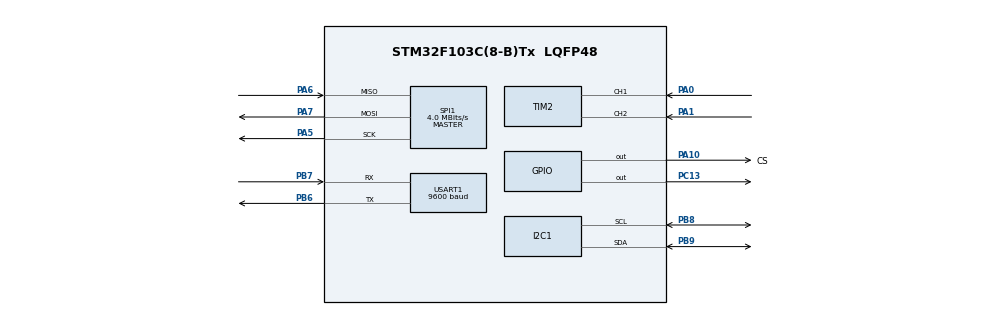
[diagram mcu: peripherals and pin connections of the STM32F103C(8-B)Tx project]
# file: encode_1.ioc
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IWDG.Prescaler=IWDG_PRESCALER_64
IWDG.Reload=4095
Mcu.Family=STM32F1
Mcu.Name=STM32F103C(8-B)Tx
Mcu.Package=LQFP48
NVIC.PriorityGroup=NVIC_PRIORITYGROUP_4
PA0-WKUP.Signal=S_TIM2_CH1_ETR
PA1.Signal=S_TIM2_CH2
PA10.GPIO_Label=CS
PA10.PinState=GPIO_PIN_SET
PA10.Signal=GPIO_Output
PA13.Mode=Serial_Wire
PA13.Signal=SYS_JTMS-SWDIO
PA14.Mode=Serial_Wire
PA14.Signal=SYS_JTCK-SWCLK
PA5.Mode=Full_Duplex_Master
PA5.Signal=SPI1_SCK
PA6.Mode=Full_Duplex_Master
PA6.Signal=SPI1_MISO
PA7.Mode=Full_Duplex_Master
PA7.Signal=SPI1_MOSI
PB6.Mode=Asynchronous
PB6.Signal=USART1_TX
PB7.Mode=Asynchronous
PB7.Signal=USART1_RX
PB8.Mode=I2C
PB8.Signal=I2C1_SCL
PB9.Mode=I2C
PB9.Signal=I2C1_SDA
PC13-TAMPER-RTC.Signal=GPIO_Output
PC14-OSC32_IN.Mode=LSE-External-Oscillator
PC14-OSC32_IN.Signal=RCC_OSC32_IN
PC15-OSC32_OUT.Mode=LSE-External-Oscillator
PC15-OSC32_OUT.Signal=RCC_OSC32_OUT
PD0-OSC_IN.Mode=HSE-External-Oscillator
PD0-OSC_IN.Signal=RCC_OSC_IN
PD1-OSC_OUT.Mode=HSE-External-Oscillator
PD1-OSC_OUT.Signal=RCC_OSC_OUT
ProjectManager.HeapSize=0x200
ProjectManager.StackSize=0x400
ProjectManager.TargetToolchain=MDK-ARM V5.32
RCC.APB1Freq_Value=8000000
RCC.APB2Freq_Value=8000000
RCC.RTCClockSelection=RCC_RTCCLKSOURCE_LSE
RTC.Format=RTC_FORMAT_BIN
SH.S_TIM2_CH1_ETR.0=TIM2_CH1,Encoder_Interface
SH.S_TIM2_CH2.0=TIM2_CH2,Encoder_Interface
SPI1.CalculateBaudRate=4.0 MBits/s
SPI1.Direction=SPI_DIRECTION_2LINES
SPI1.Mode=SPI_MODE_MASTER
SPI1.VirtualType=VM_MASTER
TIM2.EncoderMode=TIM_ENCODERMODE_TI12
USART1.BaudRate=9600
USART1.VirtualMode=VM_ASYNC
VP_IWDG_VS_IWDG.Mode=IWDG_Activate
VP_RTC_No_RTC_Output.Mode=RTC_OUT_NO
VP_RTC_VS_RTC_Activate.Mode=RTC_Enabled
VP_RTC_VS_RTC_Calendar.Mode=RTC_Calendar
board=custom

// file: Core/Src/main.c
/* USER CODE BEGIN Header */
/**
  ******************************************************************************
  * @file           : main.c
  * @brief          : 多传感器采集系统主程序
  * @note            外设列表:
  *                  - OLED SSD1306 (I2C1, 0x3C)   : 分页显示传感器数据
  *                  - MPU6xxx x2  (I2C1, 0x68/0x69): 6 轴姿态传感器
  *                  - W25Qxx Flash (SPI1)          : 断电保存页码和参数
  *                  - 旋转编码器   (TIM2 ENCODER)   : 翻页操作
  *                  - JDY-3x 蓝牙 (UART1, 9600)     : 数据透传到手机
  *                  - PC13 LED     (GPIO)           : 心跳指示灯
  ******************************************************************************
  * @attention
  *
  * Copyright (c) 2026 STMicroelectronics.
  * All rights reserved.
  *
  * This software is licensed under terms that can be found in the LICENSE file
  * in the root directory of this software component.
  * If no LICENSE file comes with this software, it is provided AS-IS.
  *
  ******************************************************************************
  */
/* USER CODE END Header */
#include "main.h"

/* USER CODE BEGIN Includes */

#include "ssd1306.h"    /* OLED 128x64 I2C 显示驱动 */
#include "encode.h"     /* 旋转编码器驱动 (TIM2) */
#include "w25qxx.h"     /* W25Qxx SPI Flash 驱动 */
#include "mpu6050.h"    /* MPU6xxx 六轴传感器驱动 */
#include "sgp30.h"      /* SGP30 空气质量传感器驱动 */
#include "warm_damp.h"  /* AHT20+BMP280 温湿压一体化传感器驱动 */
#include "jdy31.h"      /* JDY-3x 蓝牙模块驱动 */
#include <stdio.h>      /* sprintf 格式化输出 */

/* USER CODE END Includes */

I2C_HandleTypeDef hi2c1;

IWDG_HandleTypeDef hiwdg;

RTC_HandleTypeDef hrtc;

SPI_HandleTypeDef hspi1;

TIM_HandleTypeDef htim2;

UART_HandleTypeDef huart1;

void SystemClock_Config(void);
static void MX_GPIO_Init(void);
static void MX_I2C1_Init(void);
static void MX_SPI1_Init(void);
static void MX_TIM2_Init(void);
static void MX_USART1_UART_Init(void);
static void MX_IWDG_Init(void);
static void MX_RTC_Init(void);

/* USER CODE BEGIN 0 */

void info_read(uint16_t *sgp,float *warm_damp){
  uint16_t eco2,tvoc;
  float temp ,hum,press;
  WarmDamp_Read(&temp, &hum, &press);
  warm_damp[0] = temp;
  warm_damp[1] = hum;
  warm_damp[2] = press;
  SGP30_Read(&eco2, &tvoc);

  sgp[0] = eco2;
  sgp[1] = tvoc;

}

int ax_m,ay_m,az_m,gx_m,gz_m,gy_m; /* MPU 物理单位换算值 (x1000 整数) */
/**
 * @brief  将 MPU6xxx 原始 ADC 值换算为物理单位 (整数放大)
 * @param  ax 加速度 X 轴原始值 (LSB)
 * @param  ay 加速度 Y 轴原始值 (LSB)
 * @param  az 加速度 Z 轴原始值 (LSB)
 * @param  gx 陀螺仪 X 轴原始值 (LSB)
 * @param  gy 陀螺仪 Y 轴原始值 (LSB)
 * @param  gz 陀螺仪 Z 轴原始值 (LSB)
 * @note   换算公式 (x1000 避免浮点):
 *         加速度: 原始值 * 1000 / 16384  (g*1000, 量程 ±2g)
 *         陀螺仪: 原始值 * 1000 / 131    (°/s*1000, 量程 ±250°/s)
 *         结果存入全局变量 ax_m/ay_m/az_m/gx_m/gy_m/gz_m
 */
void accum(int ax,int ay,int az,int gx,int gy,int gz){
      ax_m = (int32_t)ax * 1000 / 16384;
      ay_m = (int32_t)ay * 1000 / 16384;
      az_m = (int32_t)az * 1000 / 16384;      // 加速度灵敏度 16384

      gx_m = (int32_t)gx * 1000 / 131;
      gy_m = (int32_t)gy * 1000 / 131;
      gz_m = (int32_t)gz * 1000 / 131;        // 陀螺仪灵敏度 131
  }

/**
 * @brief  I2C 总线扫描: 检测 1~126 地址范围的所有设备并显示到 OLED
 * @note   用于调试时确认各传感器 I2C 地址是否正确
 *         7 位地址左移 1 位后通过 HAL_I2C_IsDeviceReady 握手
 */
void I2C_Scan(void)
{
    uint8_t a = 0;
    uint8_t x = 0, y = 2;
    OLED_Clear();
    OLED_ShowString(0, 0, "I2C scan:");

    for(a = 1; a < 127; a++)
    {
        if(HAL_I2C_IsDeviceReady(&hi2c1, (uint16_t)(a<<1), 1, 20) == HAL_OK)
        {
            char buf[12];
            sprintf(buf, "0x%02X", a);
            OLED_ShowString(x, y+0, buf);
            x += 42;
            if(x > 100) { x = 0; y++; }         /* 自动换行 */
        }
    }
}
/* USER CODE END 0 */

int main(void)
{

  /* MCU Configuration--------------------------------------------------------*/

  /* Reset of all peripherals, Initializes the Flash interface and the Systick. */
  HAL_Init();

  /* Configure the system clock */
  SystemClock_Config();

  /* Initialize all configured peripherals */
  MX_GPIO_Init();
  MX_I2C1_Init();
  MX_SPI1_Init();
  MX_TIM2_Init();
  MX_USART1_UART_Init();
  MX_RTC_Init();
  /* USER CODE BEGIN 2 */

  /** @brief 当前 OLED 显示页码 (0~3), 断电前保存到 Flash 地址 1 */
  static uint8_t page = 0;

  /* 从 Flash 恢复上次断电时的页码 */
  W25QXX_ReadByte(1,&page);//读取储存的计数值

  if(page>2) page = 0;      /* 容错: 非法页码归零 */

  HAL_Delay(500);           /* 等待各模块上电稳定 */

  OLED_Init();
	OLED_Clear();
  JDY31_SendAT("AT");   // 测试模块是否响应（可在串口助手看回显）
	W25QXX_Init();            /* SPI Flash 初始化 (读 JEDEC ID) */
	Encode_Init();            /* 编码器模式启动 */

  /* 检测 I2C 总线上的 MPU 模块 (0x68 AD0=0 / 0x69 AD0=1) */
  uint8_t ok1 = MPU6050_Detect(0x68);

  if(ok1) MPU6050_Init(0x68);    /* 模块存在则唤醒 */

  /* 检测并初始化 SGP30 空气质量传感器
   * (注: 调用的是 sgp30.h 提供的标准接口; sgp30.c 内已换为成熟驱动实现,
   *  本处调用方式保持不变) */
  OLED_ShowString(0, 2, "Loading...   ");      /* 上电稳定期间提示加载中 */
  HAL_Delay(2000);                       /* 等待: SGP30 上电需约 2s 内部启动/热稳定,
                                          *   过早发命令会无应答导致 FAIL */
  OLED_ShowString(0, 2, "             ");      /* 清除加载提示, 进入正常显示 */

  uint8_t sgp30_ok = SGP30_Detect();

  if(sgp30_ok == 1) SGP30_Init();

  /* 检测并初始化 AHT20+BMP280 温湿压传感器 */
  uint8_t wd_ok = WarmDamp_Detect();

  if(wd_ok) WarmDamp_Init();

	static uint8_t last_val = 0xFF;

	uint8_t saved = 0;

	/* 从 Flash 地址 0 恢复编码器上次保存的累计值 */
	W25QXX_ReadByte(0,&saved);

	Encode_SetValue(saved);       /* 恢复编码器初始值 */

  /* 看门狗在所有外设/传感器初始化完成之后才开启，
   * 避免初始化阶段的 HAL_Delay 与传感器检测阻塞导致复位 */
  MX_IWDG_Init();
  /* USER CODE END 2 */

  /* Infinite loop */
  /* USER CODE BEGIN WHILE */
  RTC_TimeTypeDef rtcTime;    /* RTC 时间 (读取用) */
  RTC_DateTypeDef  rtcDate;   /* RTC 日期 (读取用) */

  char line[22];                  /* OLED 行缓冲区 */

  int16_t ax, ay, az, gx, gy, gz;/* MPU 6 轴原始 ADC 值 */

  float temp, hum, press;          /* AHT20+BMP280: 温度/湿度/气压 */
  uint16_t eco2, tvoc;             /* SGP30: eCO2/TVOC 浓度 */

  while (1)                        /* ---- 主循环: 周期性采集与显示 ---- */
  {
      HAL_IWDG_Refresh(&hiwdg);
      HAL_GPIO_TogglePin(GPIOC, GPIO_PIN_13);//翻转电平指示代码进入循环正常工作

      /* 检测编码器是否旋动 (翻页触发) */
      if(Encode_Moved()){
        OLED_Clear();
        page = Encode_ReadDelta();
      }
      switch(page){
          case 0:
                /* OLED 第 0 行: 显示当前页码和模块状态 */
                sprintf(line, "MP1:%s",
                        ok1 ? "OK" : "FAIL");//使用sprintf和数组打印初始化信息
                OLED_ShowString(0, 0, line);

                /* 若模块在线, 读取 6 轴数据; 否则跳过本次采集 */
                if(ok1){
                  MPU6050_ReadAccel(0x68, &ax, &ay, &az, &gx, &gy, &gz);
                }else break;

                accum(ax,ay,az,gx,gy,gz);//处理mpu数据

                /* OLED 第 1~3 行: 显示加速度和陀螺仪数据 */
                sprintf(line, "AX:%-6d GX:%-6d", ax_m, gx_m);

                OLED_ShowString(0, 1, line);

                sprintf(line, "AY:%-6d GY:%-6d", ay_m, gy_m);

                OLED_ShowString(0, 2, line);

                sprintf(line, "AZ:%-6d GZ:%-6d", az_m, gz_m);

                OLED_ShowString(0, 3, line);
                break;
          case 1:
                /* AHT20+BMP280 温湿压 */
                if(wd_ok){
                  WarmDamp_Read(&temp, &hum, &press);   /* 采集温湿压 */
                  sprintf(line, "T:%.1fC H:%.1f%%", temp, hum);
                  OLED_ShowString(0, 0, line);
                  sprintf(line, "P:%.0fPa", press);
                  OLED_ShowString(0, 1, line);
                  //sprintf(line, "STATUS:OK");
                  //OLED_ShowString(0, 2, line);
                }else{
                  OLED_ShowString(0, 0, "Sensor: FAIL");
                }
                /* SGP30 空气质量 */
                if(sgp30_ok){
                  SGP30_Read(&eco2, &tvoc);
                  sprintf(line, "eCO2:%uppm", eco2);
                  OLED_ShowString(48, 3, line);
                  sprintf(line, "TVOC:%uppb", tvoc);
                  OLED_ShowString(48, 4, line);
                }else{
                  /* 0: 地址无应答 → 硬件/供电/接线/上拉问题 */
                  OLED_ShowString(48, 3, "SGP30: FAIL ");
                  OLED_ShowString(48, 4, "HW: NO ACK");
                }
                break;
          case 2:
                HAL_RTC_GetTime(&hrtc, &rtcTime, RTC_FORMAT_BIN);
                HAL_RTC_GetDate(&hrtc, &rtcDate, RTC_FORMAT_BIN);
                sprintf(line, "%04d-%02d-%02d %s",
                        rtcDate.Year + 2000, rtcDate.Month, rtcDate.Date,
                        rtcDate.WeekDay == RTC_WEEKDAY_MONDAY ? "MON" :
                        rtcDate.WeekDay == RTC_WEEKDAY_TUESDAY ? "TUE" :
                        rtcDate.WeekDay == RTC_WEEKDAY_WEDNESDAY? "WED" :
                        rtcDate.WeekDay == RTC_WEEKDAY_THURSDAY? "THU" :
                        rtcDate.WeekDay == RTC_WEEKDAY_FRIDAY  ? "FRI" :
                        rtcDate.WeekDay == RTC_WEEKDAY_SATURDAY? "SAT" : "SUN");
                OLED_ShowString(0, 0, line);         /* 第0行: 日期 */
                sprintf(line, "%02d:%02d:%02d",
                        rtcTime.Hours, rtcTime.Minutes, rtcTime.Seconds);
                OLED_ShowString(0, 1, line);         /* 第1行: 时间 */

                /* 用第2行打个"点亮时间", 直观看到走秒 */
                sprintf(line, "RTC OK  %d", rtcTime.Seconds);
                OLED_ShowString(0, 2, line);
                break;
        }

      /* ---- 统一蓝牙透传: 所有传感器一起采集并发送 ----
       * 每条字符串固定 <=16 字节 (留足负号/位宽余量), 避免超出 BLE 单包;
       * 每条之间加 30ms 间隔, 给模块切包节奏, 防止多条连续数据被粘包错位 */
      {
          char bt[18];
          /* MPU 6 轴拆成短行, 单行绝不超过单包上限 (若在线) */
          if(ok1){
              MPU6050_ReadAccel(0x68, &ax, &ay, &az, &gx, &gy, &gz);
              accum(ax,ay,az,gx,gy,gz);
              snprintf(bt, sizeof(bt), "AX:%d\r\n", ax_m); JDY31_SendString(bt); HAL_Delay(30);
              snprintf(bt, sizeof(bt), "AY:%d\r\n", ay_m); JDY31_SendString(bt); HAL_Delay(30);
              snprintf(bt, sizeof(bt), "AZ:%d\r\n", az_m); JDY31_SendString(bt); HAL_Delay(30);
              snprintf(bt, sizeof(bt), "GX:%d\r\n", gx_m); JDY31_SendString(bt); HAL_Delay(30);
              snprintf(bt, sizeof(bt), "GY:%d\r\n", gy_m); JDY31_SendString(bt); HAL_Delay(30);
              snprintf(bt, sizeof(bt), "GZ:%d\r\n", gz_m); JDY31_SendString(bt); HAL_Delay(30);
          }
          /* 温湿压 (若在线) */
          if(wd_ok){
              WarmDamp_Read(&temp, &hum, &press);
              snprintf(bt, sizeof(bt), "T:%.1f\r\n", temp); JDY31_SendString(bt); HAL_Delay(30);
              snprintf(bt, sizeof(bt), "H:%.1f\r\n", hum);  JDY31_SendString(bt); HAL_Delay(30);
              snprintf(bt, sizeof(bt), "P:%.1f\r\n", press);JDY31_SendString(bt); HAL_Delay(30);
          }
          /* 空气质量 (若在线) */
          if(sgp30_ok){
              SGP30_Read(&eco2, &tvoc);
              snprintf(bt, sizeof(bt), "eCO2:%u\r\n", eco2); JDY31_SendString(bt); HAL_Delay(30);
              snprintf(bt, sizeof(bt), "TVOC:%u\r\n", tvoc); JDY31_SendString(bt); HAL_Delay(30);
          }
          HAL_Delay(1000);   /* 节流: 每秒发一轮, 避免阻塞主循环 */
      }

    /* USER CODE END WHILE */

  }
}

void SystemClock_Config(void)
{
  RCC_OscInitTypeDef RCC_OscInitStruct = {0};
  RCC_ClkInitTypeDef RCC_ClkInitStruct = {0};
  RCC_PeriphCLKInitTypeDef PeriphClkInit = {0};

  /** Initializes the RCC Oscillators according to the specified parameters
  * in the RCC_OscInitTypeDef structure.
  */
  RCC_OscInitStruct.OscillatorType = RCC_OSCILLATORTYPE_HSI|RCC_OSCILLATORTYPE_LSI;
  RCC_OscInitStruct.HSIState = RCC_HSI_ON;
  RCC_OscInitStruct.HSICalibrationValue = RCC_HSICALIBRATION_DEFAULT;
  RCC_OscInitStruct.LSIState = RCC_LSI_ON;
  RCC_OscInitStruct.PLL.PLLState = RCC_PLL_NONE;
  if (HAL_RCC_OscConfig(&RCC_OscInitStruct) != HAL_OK)
  {
    Error_Handler();
  }

  /** Initializes the CPU, AHB and APB buses clocks
  */
  RCC_ClkInitStruct.ClockType = RCC_CLOCKTYPE_HCLK|RCC_CLOCKTYPE_SYSCLK
                              |RCC_CLOCKTYPE_PCLK1|RCC_CLOCKTYPE_PCLK2;
  RCC_ClkInitStruct.SYSCLKSource = RCC_SYSCLKSOURCE_HSI;
  RCC_ClkInitStruct.AHBCLKDivider = RCC_SYSCLK_DIV1;
  RCC_ClkInitStruct.APB1CLKDivider = RCC_HCLK_DIV1;
  RCC_ClkInitStruct.APB2CLKDivider = RCC_HCLK_DIV1;

  if (HAL_RCC_ClockConfig(&RCC_ClkInitStruct, FLASH_LATENCY_0) != HAL_OK)
  {
    Error_Handler();
  }
  PeriphClkInit.PeriphClockSelection = RCC_PERIPHCLK_RTC;
  PeriphClkInit.RTCClockSelection = RCC_RTCCLKSOURCE_LSI;
  if (HAL_RCCEx_PeriphCLKConfig(&PeriphClkInit) != HAL_OK)
  {
    Error_Handler();
  }
}

static void MX_I2C1_Init(void)
{

  hi2c1.Instance = I2C1;
  hi2c1.Init.ClockSpeed = 100000;
  hi2c1.Init.DutyCycle = I2C_DUTYCYCLE_2;
  hi2c1.Init.OwnAddress1 = 0;
  hi2c1.Init.AddressingMode = I2C_ADDRESSINGMODE_7BIT;
  hi2c1.Init.DualAddressMode = I2C_DUALADDRESS_DISABLE;
  hi2c1.Init.OwnAddress2 = 0;
  hi2c1.Init.GeneralCallMode = I2C_GENERALCALL_DISABLE;
  hi2c1.Init.NoStretchMode = I2C_NOSTRETCH_DISABLE;
  if (HAL_I2C_Init(&hi2c1) != HAL_OK)
  {
    Error_Handler();
  }

}

static void MX_IWDG_Init(void)
{

  hiwdg.Instance = IWDG;
  hiwdg.Init.Prescaler = IWDG_PRESCALER_64;
  hiwdg.Init.Reload = 4095;
  if (HAL_IWDG_Init(&hiwdg) != HAL_OK)
  {
    Error_Handler();
  }

}

static void MX_RTC_Init(void)
{

  RTC_TimeTypeDef sTime = {0};
  RTC_DateTypeDef DateToUpdate = {0};

  /** Initialize RTC Only
  */
  hrtc.Instance = RTC;
  hrtc.Init.AsynchPrediv = RTC_AUTO_1_SECOND;
  hrtc.Init.OutPut = RTC_OUTPUTSOURCE_NONE;
  if (HAL_RTC_Init(&hrtc) != HAL_OK)
  {
    Error_Handler();
  }

  /** Initialize RTC and set the Time and Date
  */
  sTime.Hours = 0;
  sTime.Minutes = 0;
  sTime.Seconds = 0;

  if (HAL_RTC_SetTime(&hrtc, &sTime, RTC_FORMAT_BIN) != HAL_OK)
  {
    Error_Handler();
  }
  DateToUpdate.WeekDay = RTC_WEEKDAY_MONDAY;
  DateToUpdate.Month = RTC_MONTH_JANUARY;
  DateToUpdate.Date = 1;
  DateToUpdate.Year = 0;

  if (HAL_RTC_SetDate(&hrtc, &DateToUpdate, RTC_FORMAT_BIN) != HAL_OK)
  {
    Error_Handler();
  }

}

static void MX_SPI1_Init(void)
{

  /* SPI1 parameter configuration*/
  hspi1.Instance = SPI1;
  hspi1.Init.Mode = SPI_MODE_MASTER;
  hspi1.Init.Direction = SPI_DIRECTION_2LINES;
  hspi1.Init.DataSize = SPI_DATASIZE_8BIT;
  hspi1.Init.CLKPolarity = SPI_POLARITY_LOW;
  hspi1.Init.CLKPhase = SPI_PHASE_1EDGE;
  hspi1.Init.NSS = SPI_NSS_SOFT;
  hspi1.Init.BaudRatePrescaler = SPI_BAUDRATEPRESCALER_2;
  hspi1.Init.FirstBit = SPI_FIRSTBIT_MSB;
  hspi1.Init.TIMode = SPI_TIMODE_DISABLE;
  hspi1.Init.CRCCalculation = SPI_CRCCALCULATION_DISABLE;
  hspi1.Init.CRCPolynomial = 10;
  if (HAL_SPI_Init(&hspi1) != HAL_OK)
  {
    Error_Handler();
  }

}

static void MX_TIM2_Init(void)
{

  TIM_Encoder_InitTypeDef sConfig = {0};
  TIM_MasterConfigTypeDef sMasterConfig = {0};

  htim2.Instance = TIM2;
  htim2.Init.Prescaler = 0;
  htim2.Init.CounterMode = TIM_COUNTERMODE_UP;
  htim2.Init.Period = 65535;
  htim2.Init.ClockDivision = TIM_CLOCKDIVISION_DIV1;
  htim2.Init.AutoReloadPreload = TIM_AUTORELOAD_PRELOAD_DISABLE;
  sConfig.EncoderMode = TIM_ENCODERMODE_TI12;
  sConfig.IC1Polarity = TIM_ICPOLARITY_RISING;
  sConfig.IC1Selection = TIM_ICSELECTION_DIRECTTI;
  sConfig.IC1Prescaler = TIM_ICPSC_DIV1;
  sConfig.IC1Filter = 0;
  sConfig.IC2Polarity = TIM_ICPOLARITY_RISING;
  sConfig.IC2Selection = TIM_ICSELECTION_DIRECTTI;
  sConfig.IC2Prescaler = TIM_ICPSC_DIV1;
  sConfig.IC2Filter = 0;
  if (HAL_TIM_Encoder_Init(&htim2, &sConfig) != HAL_OK)
  {
    Error_Handler();
  }
  sMasterConfig.MasterOutputTrigger = TIM_TRGO_RESET;
  sMasterConfig.MasterSlaveMode = TIM_MASTERSLAVEMODE_DISABLE;
  if (HAL_TIMEx_MasterConfigSynchronization(&htim2, &sMasterConfig) != HAL_OK)
  {
    Error_Handler();
  }

}

static void MX_USART1_UART_Init(void)
{

  huart1.Instance = USART1;
  huart1.Init.BaudRate = 9600;
  huart1.Init.WordLength = UART_WORDLENGTH_8B;
  huart1.Init.StopBits = UART_STOPBITS_1;
  huart1.Init.Parity = UART_PARITY_NONE;
  huart1.Init.Mode = UART_MODE_TX_RX;
  huart1.Init.HwFlowCtl = UART_HWCONTROL_NONE;
  huart1.Init.OverSampling = UART_OVERSAMPLING_16;
  if (HAL_UART_Init(&huart1) != HAL_OK)
  {
    Error_Handler();
  }

}

static void MX_GPIO_Init(void)
{
  GPIO_InitTypeDef GPIO_InitStruct = {0};

  /* GPIO Ports Clock Enable */
  __HAL_RCC_GPIOC_CLK_ENABLE();
  __HAL_RCC_GPIOD_CLK_ENABLE();
  __HAL_RCC_GPIOA_CLK_ENABLE();
  __HAL_RCC_GPIOB_CLK_ENABLE();

  /*Configure GPIO pin Output Level */
  HAL_GPIO_WritePin(GPIOC, GPIO_PIN_13, GPIO_PIN_RESET);

  /*Configure GPIO pin Output Level */
  HAL_GPIO_WritePin(CS_GPIO_Port, CS_Pin, GPIO_PIN_SET);

  /*Configure GPIO pin : PC13 */
  GPIO_InitStruct.Pin = GPIO_PIN_13;
  GPIO_InitStruct.Mode = GPIO_MODE_OUTPUT_PP;
  GPIO_InitStruct.Pull = GPIO_NOPULL;
  GPIO_InitStruct.Speed = GPIO_SPEED_FREQ_LOW;
  HAL_GPIO_Init(GPIOC, &GPIO_InitStruct);

  /*Configure GPIO pin : CS_Pin */
  GPIO_InitStruct.Pin = CS_Pin;
  GPIO_InitStruct.Mode = GPIO_MODE_OUTPUT_PP;
  GPIO_InitStruct.Pull = GPIO_NOPULL;
  GPIO_InitStruct.Speed = GPIO_SPEED_FREQ_LOW;
  HAL_GPIO_Init(CS_GPIO_Port, &GPIO_InitStruct);

}

void Error_Handler(void)
{
  __disable_irq();
  while (1)
  {
  }
}
